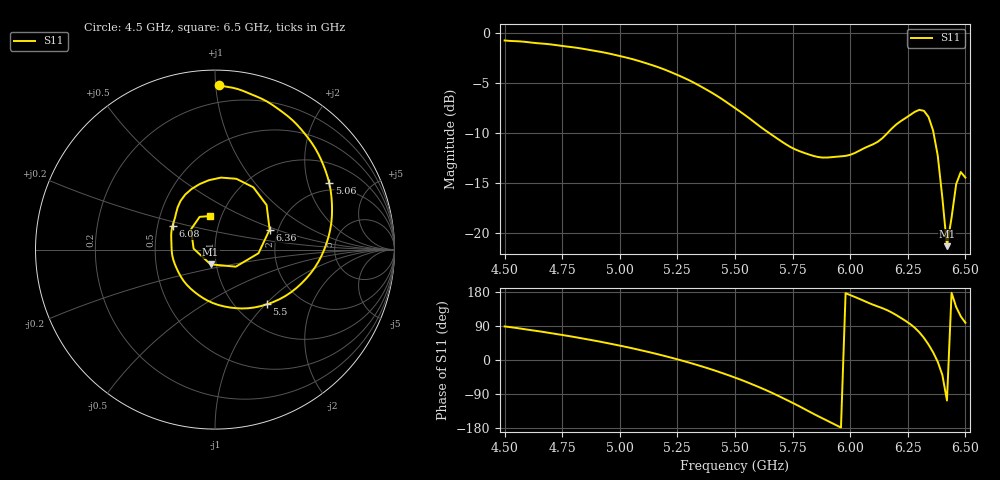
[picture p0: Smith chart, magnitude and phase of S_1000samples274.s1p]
! TOUCHSTONE file generated by CST MICROWAVE STUDIO
! Date and time: Thu Oct 27 14:34:43 2022
! Project name: L.cst
! Parameters = {Di=1.27; Epsilon_r=1.56; InnerDiameter=1.27; Length=2; Lf=10; Lg=60; OuterConductorThickness=0.2921; OuterDiameter=3.6; Wf=3; Wp=41.2; de=1.5; df=6.8; g=0.8; gx=4.52277; gy=3.2971; h=2.34; hf=1.524; px=14.8152; py=13.673; w=9.7; wx=10.2924; wy=10.3759}
! Header version: 2018
! Port assignment regex: !\s*Touchstone port\s*([0-9]+)\s*=\s*(CST MWS port|CST DS port)\s*([0-9]+|Zmin|Zmax)\s*\(\"(.*)\"\)(\s*mode\s*([0-9]+))?.*
! Touchstone port assignment:
! Touchstone port 1 = CST MWS port 1 ("")
# GHz S DB R 50
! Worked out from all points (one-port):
!   101 points, 4.5 GHz to 6.5 GHz, reference 50 ohm
!   lowest |S11| = -21.3 dB at 6.42 GHz (marker M1), VSWR 1.19, Z = 46.9 - j7.77 ohm
!   |S11| at or under -10 dB: 5.647 GHz to 6.163 GHz (515.5 MHz wide, 8.73 % of centre); 6.362 GHz to end of sweep
!   S11 on the Smith chart (normalised r, x): 4.5 GHz: 0.09, +1.02; 5.06 GHz: 1.71, +2.75; 5.5 GHz: 1.38, -1.02; 6.08 GHz: 0.60, +0.17; 6.36 GHz: 1.80, +0.45; 6.5 GHz: 0.88, +0.34
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4.5  -0.76 88.6
4.6  -0.93 80.1
4.76  -1.34 65.1
4.88  -1.76 52.3
5  -2.32 37.9
5.06  -2.66 30.1
5.16  -3.38 15.9
5.26  -4.31 0.1
5.4  -6.00 -25.3
5.5  -7.52 -46.4
5.62  -9.56 -75.7
5.76  -11.64 -116.2
5.88  -12.47 -154.0
6  -12.20 171.3
6.08  -11.33 150.7
6.18  -9.58 125.5
6.26  -8.22 95.0
6.3  -7.70 73.2
6.32  -7.80 58.4
6.34  -8.41 40.8
6.36  -9.78 20.1
6.38  -12.28 -4.8
6.4  -16.48 -39.4
6.42  -21.33 -106.9
6.44  -18.47 177.5
6.46  -15.13 139.8
6.48  -13.92 115.1
6.5  -14.47 98.3
